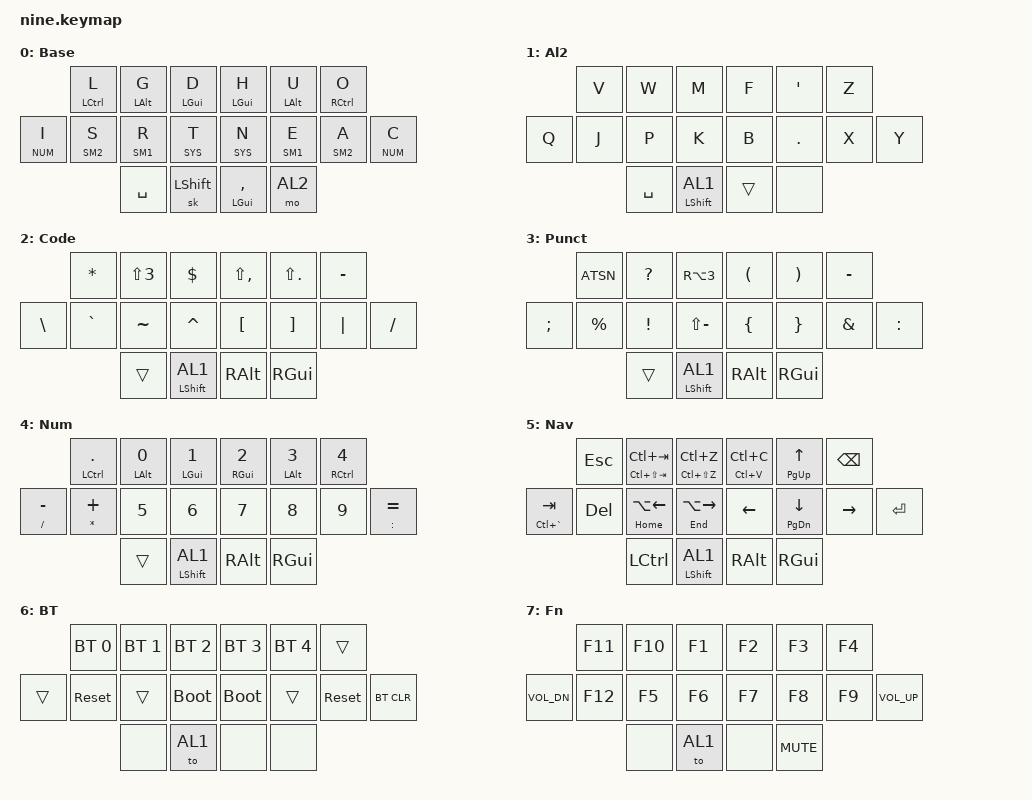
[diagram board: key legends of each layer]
/*
 * Copyright (c) 2020 The ZMK Contributors
 *
 * SPDX-License-Identifier: MIT
 */

#include <behaviors.dtsi>
#include <dt-bindings/zmk/keys.h>
#include <dt-bindings/zmk/bt.h>

&mt {
    tapping-term-ms = <201>;
    flavor = "tap-preferred";
 };
&sk {
     release-after-ms = <2000>;
     quick-release;
 };

/* Layers */
#define AL1 0
#define AL2 1
#define SM1 2
#define SM2 3
#define NUM 4
#define SYS 5
#define BT 6
#define FUN 7
/ {
    combos {
        compatible = "zmk,combos";
        combo_sys {
            timeout-ms = <30>;
            key-positions = <3 4 5>;
            bindings = <&to SYS>;
            layers = <AL1>;
        };
        combo_caps {
            timeout-ms = <30>;
            key-positions = <3 4 5>;
            bindings = <&caps_word>;
            layers = <AL2>;
        };
        combo_num {
            timeout-ms = <30>;
            key-positions = <0 1 2>;
            bindings = <&to NUM>;
            layers = <AL1>;
        };
        combo_bt  {
            timeout-ms = <10>;
            key-positions = <11 12>;
            bindings = <&to BT>;
            layers = <SM1>;
        };
        combo_fun  {
            timeout-ms = <10>;
            key-positions = <0 1 2>;
            bindings = <&to FUN>;
            layers = <AL2>;
        };
        combo_enter {
            timeout-ms = <10>;
            key-positions = <3 10>;
            bindings = <&kp RET>;
        };
        combo_esc {
            timeout-ms = <10>;
            key-positions = <0 7>;
            bindings = <&kp ESC>;
        };
    };

    behaviors {
        hm_l: homerow_mods_left {
            compatible = "zmk,behavior-hold-tap";
            label = "HOMEROW_MODS_L";
            #binding-cells = <2>;
            tapping-term-ms = <200>;
            quick-tap-ms = <190>;
            flavor = "tap-preferred";
            bindings = <&kp>, <&kp>;
            hold-trigger-key-positions = <3 4 5 10 11 12 13 15 16 17>; // right hand
        };
        hm_r: homerow_mods_right {
            compatible = "zmk,behavior-hold-tap";
            label = "HOMEROW_MODS_R";
            #binding-cells = <2>;
            tapping-term-ms = <200>;
            quick-tap-ms = <190>;
            flavor = "tap-preferred";
            bindings = <&kp>, <&kp>;
        hold-trigger-key-positions = <0 1 2 6 7 8 9 14 15 16 17>; // left hand
        };
        sr: shift_layer {
            compatible = "zmk,behavior-hold-tap";
            label = "SHIFT_LAYER";
            #binding-cells = <2>;
            tapping-term-ms = <200>;
            quick_tap_ms = <0>;
            flavor = "tap-preferred";
            bindings = <&kp>, <&to>;
        retro-tap;
        };
        hl_l: homerow_layers_left {
            compatible = "zmk,behavior-hold-tap";
            label = "HOMEROW_LAYERS_L";
            #binding-cells = <2>;
            tapping-term-ms = <200>;
            quick-tap-ms = <190>;
            flavor = "tap-preferred";
            bindings = <&mo>, <&kp>;
        hold-trigger-key-positions = <3 4 5 10 11 12 13 15 16 17>; // right hand
        };
        hl_r: homerow_layers_right {
            compatible = "zmk,behavior-hold-tap";
            label = "HOMEROW_LAYERS_R";
            #binding-cells = <2>;
            tapping-term-ms = <200>;
            quick-tap-ms = <190>;
            flavor = "tap-preferred";
            bindings = <&mo>, <&kp>;
        hold-trigger-key-positions = <0 1 2 6 7 8 9 14 15 16 17>; // left hand
        };
    td: tapdance {
            compatible = "zmk,behavior-hold-tap";
            label = "TAPDANCE";
            #binding-cells = <2>;
            tapping-term-ms = <190>;
            quick-tap-ms = <190>;
            flavor = "tap-preferred";
            bindings = <&kp>, <&kp>;
        };
  };
//                  0       1       2                   3       4           5
//          6       7       8       9                   10      11          12          13
//                          14      15                  16      17
       keymap {
                compatible = "zmk,keymap";

                alpha1 {
                label = "Base";
        bindings = <
                            &hm_l LCTL L    &hm_l LALT G    &hm_l LGUI D                &hm_r LGUI H    &hm_r LALT U        &hm_r RCTL O
            &hl_l NUM I     &hl_l SM2 S     &hl_l SM1 R     &hl_l SYS T                 &hl_r SYS N     &hl_r SM1 E         &hl_r SM2 A     &hl_r NUM C
                                             &kp SPC        &sk LSHIFT                  &td LGUI COMMA  &mo AL2
        >;
        };
                alpha2 {
                label = "Al2";
        bindings = <
                    &kp V       &kp W               &kp M               &kp F       &kp SQT         &kp Z
        &kp Q       &kp J       &kp P               &kp K               &kp B       &kp DOT         &kp X       &kp Y
                                &kp SPC             &sr LSHIFT AL1      &trans      &none
        >;
        };

                sym1 {
                label = "Code";
        bindings = <
                    &kp STAR    &kp LS(N3)  &kp DLLR                       &kp LS(COMMA)   &kp LS(DOT)     &kp MINUS
        &kp BSLH   &kp GRAVE    &kp TILDE   &kp CARET                      &kp LBKT        &kp RBKT        &kp PIPE    &kp SLASH
                                &trans      &sr LSHIFT AL1                 &kp RALT        &kp RGUI
        >;
        };
        sym2 {
        label = "Punct";
        bindings = <
                    &kp ATSN    &kp QMARK        &kp RA(N3)                &kp LPRN    &kp RPRN    &kp MINUS
        &kp SEMI    &kp PRCNT   &kp EXCL         &kp LS(MINUS)             &kp LBRC    &kp RBRC    &kp AMPS    &kp COLON
                                &trans           &sr LSHIFT AL1            &kp RALT    &kp RGUI

        >;
        };

        num {
        label = "Num";
        bindings = <
                          &hm_l LCTL DOT      &hm_l LALT N0   &hm_l LGUI N1       &hm_r RGUI N2   &hm_r LALT N3    &hm_r RCTL N4
        &td SLASH MINUS   &td STAR PLUS       &kp N5          &kp N6              &kp N7          &kp N8           &kp N9         &td COLON EQUAL
                                              &trans          &sr LSHIFT AL1      &kp RALT        &kp RGUI
        >;
        };

        sys {
        label = "Nav";
        bindings = <
                            &kp ESC        &td LC(LS(TAB)) LC(TAB)   &td LC(LS(Z)) LC(Z)         &td LC(V) LC(C)     &td PG_UP UP    &kp BKSP
        &td LC(GRAVE) TAB   &kp DEL        &td HOME LA(LEFT)         &td END LA(RIGHT)           &kp LEFT            &td PG_DN DOWN  &kp RIGHT   &kp RET
                                           &kp LCTL                  &sr LSHIFT AL1              &kp RALT            &kp RGUI
        >;
        };

        bt {
        label = "BT";
        bindings = <
                  &bt BT_SEL 0    &bt BT_SEL 1  &bt BT_SEL 2           &bt BT_SEL 3     &bt BT_SEL 4   &trans
        &trans    &sys_reset      &trans        &bootloader            &bootloader      &trans         &sys_reset  &bt BT_CLR
                                  &none         &to AL1                &none            &none
        >;
        };
        fun {
        label = "Fn";
            bindings = <
                     &kp F11   &kp F10   &kp F1           &kp F2   &kp F3   &kp F4
     &kp C_VOL_DN    &kp F12   &kp F5    &kp F6           &kp F7   &kp F8   &kp F9  &kp C_VOL_UP
                               &none     &to AL1          &none    &kp C_MUTE
                >;
        };
    };
};
